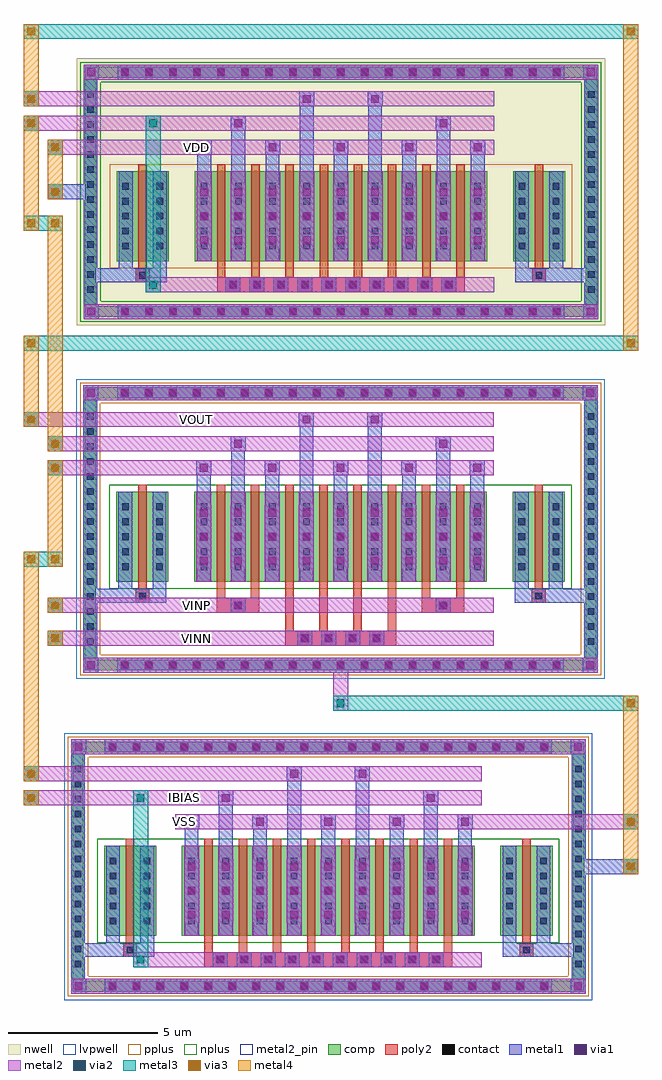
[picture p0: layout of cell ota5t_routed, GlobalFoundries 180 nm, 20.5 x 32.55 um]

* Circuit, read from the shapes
.subckt ota5t_routed IBIAS VDD VINN VINP VOUT VSS
XM1 VSS VSS VSS VSS nfet_03v3 w=3u l=0.28u m=4
XM2 IBIAS IBIAS VSS VSS nfet_03v3 w=3u l=0.28u m=4
XM3 n1 VINP n2 VSS nfet_03v3 w=3u l=0.28u m=4
XM4 n2 IBIAS VSS VSS nfet_03v3 w=3u l=0.28u m=4
XM5 VOUT VINN n2 VSS nfet_03v3 w=3u l=0.28u m=4
XM6 VDD VDD VDD VDD pfet_03v3 w=3u l=0.28u m=2
XM7 n1 n1 VDD VDD pfet_03v3 w=3u l=0.28u m=4
XM8 VOUT n1 VDD VDD pfet_03v3 w=3u l=0.28u m=4
.ends

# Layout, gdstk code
import gdstk
lib = gdstk.Library(unit=1e-6, precision=5e-09)
def R(c, l, rs):  # rectangles x0, y0, x1, y1
    for r in rs: c.add(gdstk.rectangle(r[:2], r[2:], *l))
def A(c, l, x, y, w, h, nx, ny, dx, dy):  # array of equal rectangles
    R(c, l, [(x+i*dx, y+j*dy, x+i*dx+w, y+j*dy+h) for i in range(nx) for j in range(ny)])
def P(c, l, *ps):  # polygons
    for p in ps: c.add(gdstk.Polygon(p, *l))
nwell = (21, 0)
comp = (22, 0)
poly2 = (30, 0)
pplus = (31, 0)
nplus = (32, 0)
contact = (33, 0)
metal1 = (34, 0)
via1 = (35, 0)
metal2 = (36, 0)
metal2_pin = (36, 10)
via2 = (38, 0)
via3 = (40, 0)
metal3 = (42, 0)
metal4 = (46, 0)
lvpwell = (204, 0)

ota5t_routed = lib.new_cell('ota5t_routed')
R(ota5t_routed, nwell, [(1.92,23.4,19.54,32.3), (2.08,23.56,19.38,32.14)])
A(ota5t_routed, comp, 2.93, 1.18, 0.36, 0.36, 19, 2, 0.8, 7.98)
A(ota5t_routed, comp, 1.78, 1.92, 0.36, 0.36, 1, 14, 0, 0.5)
A(ota5t_routed, comp, 18.48, 1.92, 0.36, 0.36, 1, 14, 0, 0.5)
A(ota5t_routed, comp, 3.34, 11.89, 0.36, 0.36, 19, 2, 0.8, 9.08)
A(ota5t_routed, comp, 2.19, 12.68, 0.36, 0.36, 1, 16, 0, 0.5)
A(ota5t_routed, comp, 18.89, 12.68, 0.36, 0.36, 1, 16, 0, 0.5)
A(ota5t_routed, comp, 3.35, 23.68, 0.36, 0.36, 19, 2, 0.8, 7.98)
A(ota5t_routed, comp, 2.2, 24.42, 0.36, 0.36, 1, 14, 0, 0.5)
A(ota5t_routed, comp, 18.9, 24.42, 0.36, 0.36, 1, 14, 0, 0.5)
R(ota5t_routed, comp, [(2.93,1.18,17.69,1.54), (1.78,1.92,2.14,8.78), (18.48,1.92,18.84,8.78), (2.83,3.04,4.57,6.04), (5.43,3.04,15.19,6.04), (16.05,3.04,17.79,6.04), (2.93,9.16,17.69,9.52), (3.34,11.89,18.1,12.25), (2.19,12.68,2.55,20.54), (18.89,12.68,19.25,20.54), (3.24,14.85,4.98,17.85), (5.84,14.85,15.6,17.85), (16.46,14.85,18.2,17.85), (3.34,20.97,18.1,21.33), (3.35,23.68,18.11,24.04), (2.2,24.42,2.56,31.28), (18.9,24.42,19.26,31.28), (3.25,25.54,4.99,28.54), (5.85,25.54,15.61,28.54), (16.47,25.54,18.21,28.54), (3.35,31.66,18.11,32.02)])
P(ota5t_routed, comp, [(19.25,21.33),(2.19,21.33),(2.19,12.25),(2.55,12.25),(2.55,20.97),(18.89,20.97),(18.89,12.25),(2.55,12.25),(2.19,12.25),(2.19,11.89),(19.25,11.89)],
  [(18.84,9.52),(1.78,9.52),(1.78,1.54),(2.14,1.54),(2.14,9.16),(18.48,9.16),(18.48,1.54),(2.14,1.54),(1.78,1.54),(1.78,1.18),(18.84,1.18)],
  [(19.26,32.02),(2.2,32.02),(2.2,24.04),(2.56,24.04),(2.56,31.66),(18.9,31.66),(18.9,24.04),(2.56,24.04),(2.2,24.04),(2.2,23.68),(19.26,23.68)])
A(ota5t_routed, poly2, 6.53, 2.07, 0.36, 0.36, 10, 1, 0.8, 0)
A(ota5t_routed, poly2, 6.18, 2.5, 0.28, 0.3, 8, 1, 1.14, 0)
A(ota5t_routed, poly2, 6.18, 2.8, 0.28, 3.48, 8, 1, 1.14, 0)
A(ota5t_routed, poly2, 9.34, 12.78, 0.36, 0.36, 4, 1, 0.8, 0)
A(ota5t_routed, poly2, 8.87, 13.21, 0.28, 1.4, 4, 1, 1.14, 0)
A(ota5t_routed, poly2, 6.59, 14.61, 0.28, 3.48, 8, 1, 1.14, 0)
A(ota5t_routed, poly2, 6.95, 24.57, 0.36, 0.36, 10, 1, 0.8, 0)
A(ota5t_routed, poly2, 6.6, 25, 0.28, 0.3, 8, 1, 1.14, 0)
A(ota5t_routed, poly2, 6.6, 25.3, 0.28, 3.48, 8, 1, 1.14, 0)
R(ota5t_routed, poly2, [(6.18,2,14.44,2.5), (3.47,2.34,3.93,2.8), (16.69,2.34,17.15,2.8), (3.52,2.39,3.88,2.75), (16.74,2.39,17.1,2.75), (3.56,2.8,3.84,6.28), (16.78,2.8,17.06,6.28), (8.87,12.71,12.57,13.21), (6.59,13.81,8.01,14.31), (13.43,13.81,14.85,14.31), (7.12,13.88,7.48,14.24), (13.96,13.88,14.32,14.24), (3.88,14.15,4.34,14.61), (17.1,14.15,17.56,14.61), (3.93,14.2,4.29,14.56), (17.15,14.2,17.51,14.56), (6.59,14.31,6.87,14.61), (7.73,14.31,8.01,14.61), (13.43,14.31,13.71,14.61), (14.57,14.31,14.85,14.61), (3.97,14.61,4.25,18.09), (17.19,14.61,17.47,18.09), (6.6,24.5,14.86,25), (3.89,24.84,4.35,25.3), (17.11,24.84,17.57,25.3), (3.94,24.89,4.3,25.25), (17.16,24.89,17.52,25.25), (3.98,25.3,4.26,28.78), (17.2,25.3,17.48,28.78)])
R(ota5t_routed, pplus, [(3.02,25.31,5.22,28.77), (3.02,25.31,18.44,28.77), (5.62,25.31,15.84,28.77), (16.24,25.31,18.44,28.77)])
P(ota5t_routed, pplus, [(19.41,21.49),(2.03,21.49),(2.03,12.41),(2.71,12.41),(2.71,20.81),(18.73,20.81),(18.73,12.41),(2.71,12.41),(2.03,12.41),(2.03,11.73),(19.41,11.73)],
  [(19,9.68),(1.62,9.68),(1.62,1.7),(2.3,1.7),(2.3,9),(18.32,9),(18.32,1.7),(2.3,1.7),(1.62,1.7),(1.62,1.02),(19,1.02)])
R(ota5t_routed, nplus, [(2.6,2.81,4.8,6.27), (2.6,2.81,18.02,6.27), (5.2,2.81,15.42,6.27), (15.82,2.81,18.02,6.27), (3.01,14.62,5.21,18.08), (3.01,14.62,18.43,18.08), (5.61,14.62,15.83,18.08), (16.23,14.62,18.43,18.08)])
P(ota5t_routed, nplus, [(19.42,32.18),(2.04,32.18),(2.04,24.2),(2.72,24.2),(2.72,31.5),(18.74,31.5),(18.74,24.2),(2.72,24.2),(2.04,24.2),(2.04,23.52),(19.42,23.52)])
A(ota5t_routed, contact, 3, 1.25, 0.22, 0.22, 19, 2, 0.8, 7.98)
A(ota5t_routed, contact, 1.85, 1.99, 0.22, 0.22, 1, 14, 0, 0.5)
A(ota5t_routed, contact, 18.55, 1.99, 0.22, 0.22, 1, 14, 0, 0.5)
A(ota5t_routed, contact, 6.6, 2.14, 0.22, 0.22, 10, 1, 0.8, 0)
A(ota5t_routed, contact, 3.02, 3.43, 0.22, 0.22, 1, 5, 0, 0.5)
A(ota5t_routed, contact, 4.16, 3.43, 0.22, 0.22, 1, 5, 0, 0.5)
A(ota5t_routed, contact, 5.64, 3.43, 0.22, 0.22, 9, 5, 1.14, 0.5)
A(ota5t_routed, contact, 16.24, 3.43, 0.22, 0.22, 1, 5, 0, 0.5)
A(ota5t_routed, contact, 17.38, 3.43, 0.22, 0.22, 1, 5, 0, 0.5)
A(ota5t_routed, contact, 3.41, 11.96, 0.22, 0.22, 19, 2, 0.8, 9.08)
A(ota5t_routed, contact, 2.26, 12.75, 0.22, 0.22, 1, 16, 0, 0.5)
A(ota5t_routed, contact, 18.96, 12.75, 0.22, 0.22, 1, 16, 0, 0.5)
A(ota5t_routed, contact, 9.41, 12.85, 0.22, 0.22, 4, 1, 0.8, 0)
A(ota5t_routed, contact, 3.43, 15.24, 0.22, 0.22, 1, 5, 0, 0.5)
A(ota5t_routed, contact, 4.57, 15.24, 0.22, 0.22, 1, 5, 0, 0.5)
A(ota5t_routed, contact, 6.05, 15.24, 0.22, 0.22, 9, 5, 1.14, 0.5)
A(ota5t_routed, contact, 16.65, 15.24, 0.22, 0.22, 1, 5, 0, 0.5)
A(ota5t_routed, contact, 17.79, 15.24, 0.22, 0.22, 1, 5, 0, 0.5)
A(ota5t_routed, contact, 3.42, 23.75, 0.22, 0.22, 19, 2, 0.8, 7.98)
A(ota5t_routed, contact, 2.27, 24.49, 0.22, 0.22, 1, 14, 0, 0.5)
A(ota5t_routed, contact, 18.97, 24.49, 0.22, 0.22, 1, 14, 0, 0.5)
A(ota5t_routed, contact, 7.02, 24.64, 0.22, 0.22, 10, 1, 0.8, 0)
A(ota5t_routed, contact, 3.44, 25.93, 0.22, 0.22, 1, 5, 0, 0.5)
A(ota5t_routed, contact, 4.58, 25.93, 0.22, 0.22, 1, 5, 0, 0.5)
A(ota5t_routed, contact, 6.06, 25.93, 0.22, 0.22, 9, 5, 1.14, 0.5)
A(ota5t_routed, contact, 16.66, 25.93, 0.22, 0.22, 1, 5, 0, 0.5)
A(ota5t_routed, contact, 17.8, 25.93, 0.22, 0.22, 1, 5, 0, 0.5)
R(ota5t_routed, contact, [(3.59,2.46,3.81,2.68), (16.81,2.46,17.03,2.68), (7.19,13.95,7.41,14.17), (14.03,13.95,14.25,14.17), (4,14.27,4.22,14.49), (17.22,14.27,17.44,14.49), (4.01,24.96,4.23,25.18), (17.23,24.96,17.45,25.18)])
A(ota5t_routed, metal1, 2.86, 1.11, 0.5, 0.5, 19, 2, 0.8, 7.98)
A(ota5t_routed, metal1, 1.73, 1.87, 0.46, 0.46, 1, 14, 0, 0.5)
A(ota5t_routed, metal1, 18.43, 1.87, 0.46, 0.46, 1, 14, 0, 0.5)
A(ota5t_routed, metal1, 6.46, 2, 0.5, 0.5, 10, 1, 0.8, 0)
A(ota5t_routed, metal1, 5.52, 3.04, 0.46, 3, 9, 1, 1.14, 0)
A(ota5t_routed, metal1, 2.9, 3.31, 0.46, 0.46, 1, 5, 0, 0.5)
A(ota5t_routed, metal1, 4.04, 3.31, 0.46, 0.46, 1, 5, 0, 0.5)
A(ota5t_routed, metal1, 5.52, 3.31, 0.46, 0.46, 9, 5, 1.14, 0.5)
A(ota5t_routed, metal1, 16.12, 3.31, 0.46, 0.46, 1, 5, 0, 0.5)
A(ota5t_routed, metal1, 17.26, 3.31, 0.46, 0.46, 1, 5, 0, 0.5)
A(ota5t_routed, metal1, 5.5, 3.49, 0.5, 0.5, 9, 3, 1.14, 0.8)
A(ota5t_routed, metal1, 5.5, 3.49, 0.5, 2.1, 9, 1, 1.14, 0)
A(ota5t_routed, metal1, 5.52, 6.04, 0.46, 1.05, 5, 1, 2.28, 0)
A(ota5t_routed, metal1, 5.5, 6.59, 0.5, 0.5, 5, 1, 2.28, 0)
A(ota5t_routed, metal1, 3.27, 11.82, 0.5, 0.5, 19, 2, 0.8, 9.08)
A(ota5t_routed, metal1, 2.14, 12.63, 0.46, 0.46, 1, 16, 0, 0.5)
A(ota5t_routed, metal1, 18.84, 12.63, 0.46, 0.46, 1, 16, 0, 0.5)
A(ota5t_routed, metal1, 9.27, 12.71, 0.5, 0.5, 4, 1, 0.8, 0)
A(ota5t_routed, metal1, 5.93, 14.85, 0.46, 3, 9, 1, 1.14, 0)
A(ota5t_routed, metal1, 3.31, 15.12, 0.46, 0.46, 1, 5, 0, 0.5)
A(ota5t_routed, metal1, 4.45, 15.12, 0.46, 0.46, 1, 5, 0, 0.5)
A(ota5t_routed, metal1, 5.93, 15.12, 0.46, 0.46, 9, 5, 1.14, 0.5)
A(ota5t_routed, metal1, 16.53, 15.12, 0.46, 0.46, 1, 5, 0, 0.5)
A(ota5t_routed, metal1, 17.67, 15.12, 0.46, 0.46, 1, 5, 0, 0.5)
A(ota5t_routed, metal1, 5.91, 15.3, 0.5, 0.5, 9, 3, 1.14, 0.8)
A(ota5t_routed, metal1, 5.91, 15.3, 0.5, 2.1, 9, 1, 1.14, 0)
A(ota5t_routed, metal1, 5.93, 17.85, 0.46, 1.05, 5, 1, 2.28, 0)
A(ota5t_routed, metal1, 5.91, 18.4, 0.5, 0.5, 5, 1, 2.28, 0)
A(ota5t_routed, metal1, 3.28, 23.61, 0.5, 0.5, 19, 2, 0.8, 7.98)
A(ota5t_routed, metal1, 2.15, 24.37, 0.46, 0.46, 1, 14, 0, 0.5)
A(ota5t_routed, metal1, 18.85, 24.37, 0.46, 0.46, 1, 14, 0, 0.5)
A(ota5t_routed, metal1, 6.88, 24.5, 0.5, 0.5, 10, 1, 0.8, 0)
A(ota5t_routed, metal1, 5.94, 25.54, 0.46, 3, 9, 1, 1.14, 0)
A(ota5t_routed, metal1, 3.32, 25.81, 0.46, 0.46, 1, 5, 0, 0.5)
A(ota5t_routed, metal1, 4.46, 25.81, 0.46, 0.46, 1, 5, 0, 0.5)
A(ota5t_routed, metal1, 5.94, 25.81, 0.46, 0.46, 9, 5, 1.14, 0.5)
A(ota5t_routed, metal1, 16.54, 25.81, 0.46, 0.46, 1, 5, 0, 0.5)
A(ota5t_routed, metal1, 17.68, 25.81, 0.46, 0.46, 1, 5, 0, 0.5)
A(ota5t_routed, metal1, 5.92, 25.99, 0.5, 0.5, 9, 3, 1.14, 0.8)
A(ota5t_routed, metal1, 5.92, 25.99, 0.5, 2.1, 9, 1, 1.14, 0)
A(ota5t_routed, metal1, 5.94, 28.54, 0.46, 1.05, 5, 1, 2.28, 0)
A(ota5t_routed, metal1, 5.92, 29.09, 0.5, 0.5, 5, 1, 2.28, 0)
R(ota5t_routed, metal1, [(1.73,1.11,2.23,1.61), (1.73,1.11,2.23,1.61), (1.73,1.11,2.19,1.54), (2.86,1.11,17.76,1.61), (18.39,1.11,18.89,1.61), (18.39,1.11,18.89,1.61), (18.43,1.11,18.89,1.54), (1.73,1.54,2.19,9.16), (18.43,1.54,18.89,9.16), (1.73,2.34,3.47,2.8), (2.9,2.34,3.47,2.8), (2.9,2.34,3.36,3.04), (3.47,2.34,3.93,2.8), (3.93,2.34,4.5,2.8), (4.04,2.34,4.5,3.04), (16.12,2.34,16.69,2.8), (16.12,2.34,16.58,3.04), (16.69,2.34,17.15,2.8), (17.15,2.34,17.72,2.8), (17.15,2.34,18.89,2.8), (17.26,2.34,17.72,3.04), (2.9,3.04,3.36,6.04), (4.04,3.04,4.5,6.04), (16.12,3.04,16.58,6.04), (17.26,3.04,17.72,6.04), (18.64,5.1,20.4,5.6), (20.15,5.1,20.65,5.6), (6.66,6.04,7.12,7.89), (8.94,6.04,9.4,8.7), (11.22,6.04,11.68,8.7), (13.5,6.04,13.96,7.89), (6.64,7.39,7.14,7.89), (13.48,7.39,13.98,7.89), (8.92,8.2,9.42,8.7), (11.2,8.2,11.7,8.7), (1.73,9.09,2.23,9.59), (1.73,9.09,2.23,9.59), (2.86,9.09,17.76,9.59), (18.39,9.09,18.89,9.59), (18.39,9.09,18.89,9.59), (1.73,9.16,2.19,9.59), (18.43,9.16,18.89,9.59), (2.14,11.82,2.64,12.32), (2.14,11.82,2.64,12.32), (2.14,11.82,2.6,12.25), (3.27,11.82,18.17,12.32), (18.8,11.82,19.3,12.32), (18.8,11.82,19.3,12.32), (18.84,11.82,19.3,12.25), (2.14,12.25,2.6,20.97), (18.84,12.25,19.3,20.97), (7.05,13.81,7.55,14.31), (13.89,13.81,14.39,14.31), (2.14,14.15,3.88,14.61), (3.31,14.15,3.88,14.61), (3.31,14.15,3.77,14.85), (3.88,14.15,4.34,14.61), (4.34,14.15,4.91,14.61), (4.45,14.15,4.91,14.85), (16.53,14.15,17.1,14.61), (16.53,14.15,16.99,14.85), (17.1,14.15,17.56,14.61), (17.56,14.15,18.13,14.61), (17.56,14.15,19.3,14.61), (17.67,14.15,18.13,14.85), (3.31,14.85,3.77,17.85), (4.45,14.85,4.91,17.85), (16.53,14.85,16.99,17.85), (17.67,14.85,18.13,17.85), (7.07,17.85,7.53,19.7), (9.35,17.85,9.81,20.51), (11.63,17.85,12.09,20.51), (13.91,17.85,14.37,19.7), (7.05,19.2,7.55,19.7), (13.89,19.2,14.39,19.7), (9.33,20.01,9.83,20.51), (11.61,20.01,12.11,20.51), (2.14,20.9,2.64,21.4), (2.14,20.9,2.64,21.4), (3.27,20.9,18.17,21.4), (18.8,20.9,19.3,21.4), (18.8,20.9,19.3,21.4), (2.14,20.97,2.6,21.4), (18.84,20.97,19.3,21.4), (2.15,23.61,2.65,24.11), (2.15,23.61,2.65,24.11), (2.15,23.61,2.61,24.04), (3.28,23.61,18.18,24.11), (18.81,23.61,19.31,24.11), (18.81,23.61,19.31,24.11), (18.85,23.61,19.31,24.04), (2.15,24.04,2.61,31.66), (18.85,24.04,19.31,31.66), (2.15,24.84,3.89,25.3), (3.32,24.84,3.89,25.3), (3.32,24.84,3.78,25.54), (3.89,24.84,4.35,25.3), (4.35,24.84,4.92,25.3), (4.46,24.84,4.92,25.54), (16.54,24.84,17.11,25.3), (16.54,24.84,17,25.54), (17.11,24.84,17.57,25.3), (17.57,24.84,18.14,25.3), (17.57,24.84,19.31,25.3), (17.68,24.84,18.14,25.54), (3.32,25.54,3.78,28.54), (4.46,25.54,4.92,28.54), (16.54,25.54,17,28.54), (17.68,25.54,18.14,28.54), (0.95,27.6,1.45,28.1), (1.2,27.6,2.4,28.1), (7.08,28.54,7.54,30.39), (9.36,28.54,9.82,31.2), (11.64,28.54,12.1,31.2), (13.92,28.54,14.38,30.39), (7.06,29.89,7.56,30.39), (13.9,29.89,14.4,30.39), (9.34,30.7,9.84,31.2), (11.62,30.7,12.12,31.2), (2.15,31.59,2.65,32.09), (2.15,31.59,2.65,32.09), (3.28,31.59,18.18,32.09), (18.81,31.59,19.31,32.09), (18.81,31.59,19.31,32.09), (2.15,31.66,2.61,32.09), (18.85,31.66,19.31,32.09)])
A(ota5t_routed, via1, 2.98, 1.23, 0.26, 0.26, 19, 2, 0.8, 7.98)
A(ota5t_routed, via1, 6.58, 2.12, 0.26, 0.26, 10, 1, 0.8, 0)
A(ota5t_routed, via1, 5.62, 3.61, 0.26, 0.26, 9, 3, 1.14, 0.8)
A(ota5t_routed, via1, 5.62, 6.71, 0.26, 0.26, 5, 1, 2.28, 0)
A(ota5t_routed, via1, 3.39, 11.94, 0.26, 0.26, 19, 2, 0.8, 9.08)
A(ota5t_routed, via1, 9.39, 12.83, 0.26, 0.26, 4, 1, 0.8, 0)
A(ota5t_routed, via1, 6.03, 15.42, 0.26, 0.26, 9, 3, 1.14, 0.8)
A(ota5t_routed, via1, 6.03, 18.52, 0.26, 0.26, 5, 1, 2.28, 0)
A(ota5t_routed, via1, 3.4, 23.73, 0.26, 0.26, 19, 2, 0.8, 7.98)
A(ota5t_routed, via1, 7, 24.62, 0.26, 0.26, 10, 1, 0.8, 0)
A(ota5t_routed, via1, 6.04, 26.11, 0.26, 0.26, 9, 3, 1.14, 0.8)
A(ota5t_routed, via1, 6.04, 29.21, 0.26, 0.26, 5, 1, 2.28, 0)
R(ota5t_routed, via1, [(1.85,1.23,2.11,1.49), (18.51,1.23,18.77,1.49), (20.27,5.22,20.53,5.48), (6.76,7.51,7.02,7.77), (13.6,7.51,13.86,7.77), (9.04,8.32,9.3,8.58), (11.32,8.32,11.58,8.58), (1.85,9.21,2.11,9.47), (18.51,9.21,18.77,9.47), (2.26,11.94,2.52,12.2), (18.92,11.94,19.18,12.2), (7.17,13.93,7.43,14.19), (14.01,13.93,14.27,14.19), (7.17,19.32,7.43,19.58), (14.01,19.32,14.27,19.58), (9.45,20.13,9.71,20.39), (11.73,20.13,11.99,20.39), (2.26,21.02,2.52,21.28), (18.92,21.02,19.18,21.28), (2.27,23.73,2.53,23.99), (18.93,23.73,19.19,23.99), (1.07,27.72,1.33,27.98), (7.18,30.01,7.44,30.27), (14.02,30.01,14.28,30.27), (9.46,30.82,9.72,31.08), (11.74,30.82,12,31.08), (2.27,31.71,2.53,31.97), (18.93,31.71,19.19,31.97)])
A(ota5t_routed, metal2, 2.86, 1.11, 0.5, 0.5, 19, 2, 0.8, 7.98)
A(ota5t_routed, metal2, 6.46, 2, 0.5, 0.5, 10, 1, 0.8, 0)
A(ota5t_routed, metal2, 5.5, 3.04, 0.5, 3, 9, 1, 1.14, 0)
A(ota5t_routed, metal2, 5.5, 3.49, 0.5, 0.5, 9, 3, 1.14, 0.8)
A(ota5t_routed, metal2, 5.5, 6.59, 0.5, 0.5, 5, 1, 2.28, 0)
A(ota5t_routed, metal2, 3.27, 11.82, 0.5, 0.5, 19, 2, 0.8, 9.08)
A(ota5t_routed, metal2, 9.27, 12.71, 0.5, 0.5, 4, 1, 0.8, 0)
A(ota5t_routed, metal2, 5.91, 14.85, 0.5, 3, 9, 1, 1.14, 0)
A(ota5t_routed, metal2, 5.91, 15.3, 0.5, 0.5, 9, 3, 1.14, 0.8)
A(ota5t_routed, metal2, 5.91, 18.4, 0.5, 0.5, 5, 1, 2.28, 0)
A(ota5t_routed, metal2, 3.28, 23.61, 0.5, 0.5, 19, 2, 0.8, 7.98)
A(ota5t_routed, metal2, 6.88, 24.5, 0.5, 0.5, 10, 1, 0.8, 0)
A(ota5t_routed, metal2, 5.92, 25.54, 0.5, 3, 9, 1, 1.14, 0)
A(ota5t_routed, metal2, 5.92, 25.99, 0.5, 0.5, 9, 3, 1.14, 0.8)
A(ota5t_routed, metal2, 5.92, 29.09, 0.5, 0.5, 5, 1, 2.28, 0)
R(ota5t_routed, metal2, [(1.73,1.11,2.23,1.61), (1.73,1.11,2.23,1.61), (1.73,1.11,2.14,1.61), (2.14,1.11,18.48,1.61), (18.39,1.11,18.89,1.61), (18.39,1.11,18.89,1.61), (18.48,1.11,18.89,1.61), (3.8,2,4.3,2.5), (3.8,2,5.2,2.5), (5.2,2,15.42,2.5), (6.18,2,14.44,2.5), (20.15,5.1,20.65,5.6), (5.2,6.59,15.42,7.09), (15.17,6.59,20.4,7.09), (20.15,6.59,20.65,7.09), (0.15,7.39,0.65,7.89), (0.4,7.39,5.45,7.89), (3.8,7.39,4.3,7.89), (3.8,7.39,5.2,7.89), (5.2,7.39,15.42,7.89), (6.64,7.39,7.14,7.89), (13.48,7.39,13.98,7.89), (0.15,8.2,0.65,8.7), (0.4,8.2,5.45,8.7), (5.2,8.2,15.42,8.7), (8.92,8.2,9.42,8.7), (11.2,8.2,11.7,8.7), (1.73,9.09,2.23,9.59), (1.73,9.09,2.23,9.59), (1.73,9.09,2.14,9.59), (2.14,9.09,18.48,9.59), (18.39,9.09,18.89,9.59), (18.39,9.09,18.89,9.59), (18.48,9.09,18.89,9.59), (10.47,10.55,10.97,11.05), (10.47,10.8,10.97,12.07), (2.14,11.82,2.64,12.32), (2.14,11.82,2.64,12.32), (2.14,11.82,2.55,12.32), (2.55,11.82,18.89,12.32), (18.8,11.82,19.3,12.32), (18.8,11.82,19.3,12.32), (18.89,11.82,19.3,12.32), (0.95,12.71,1.45,13.21), (1.2,12.71,5.86,13.21), (5.61,12.71,15.83,13.21), (8.87,12.71,12.57,13.21), (0.95,13.81,1.45,14.31), (1.2,13.81,5.86,14.31), (5.61,13.81,15.83,14.31), (6.59,13.81,8.01,14.31), (7.05,13.81,7.55,14.31), (13.43,13.81,14.85,14.31), (13.89,13.81,14.39,14.31), (0.95,18.4,1.45,18.9), (1.2,18.4,5.86,18.9), (5.61,18.4,15.83,18.9), (0.95,19.2,1.45,19.7), (1.2,19.2,5.86,19.7), (5.61,19.2,15.83,19.7), (7.05,19.2,7.55,19.7), (13.89,19.2,14.39,19.7), (0.15,20.01,0.65,20.51), (0.4,20.01,5.86,20.51), (5.61,20.01,15.83,20.51), (9.33,20.01,9.83,20.51), (11.61,20.01,12.11,20.51), (2.14,20.9,2.64,21.4), (2.14,20.9,2.64,21.4), (2.14,20.9,2.55,21.4), (2.55,20.9,18.89,21.4), (18.8,20.9,19.3,21.4), (18.8,20.9,19.3,21.4), (18.89,20.9,19.3,21.4), (2.15,23.61,2.65,24.11), (2.15,23.61,2.65,24.11), (2.15,23.61,2.56,24.11), (2.56,23.61,18.9,24.11), (18.81,23.61,19.31,24.11), (18.81,23.61,19.31,24.11), (18.9,23.61,19.31,24.11), (4.22,24.5,4.72,25), (4.22,24.5,5.62,25), (5.62,24.5,15.84,25), (6.6,24.5,14.86,25), (0.95,27.6,1.45,28.1), (0.95,29.09,1.45,29.59), (1.2,29.09,5.87,29.59), (5.62,29.09,15.84,29.59), (0.15,29.89,0.65,30.39), (0.4,29.89,5.87,30.39), (4.22,29.89,4.72,30.39), (4.22,29.89,5.62,30.39), (5.62,29.89,15.84,30.39), (7.06,29.89,7.56,30.39), (13.9,29.89,14.4,30.39), (0.15,30.7,0.65,31.2), (0.4,30.7,5.87,31.2), (5.62,30.7,15.84,31.2), (9.34,30.7,9.84,31.2), (11.62,30.7,12.12,31.2), (2.15,31.59,2.65,32.09), (2.15,31.59,2.65,32.09), (2.15,31.59,2.56,32.09), (2.56,31.59,18.9,32.09), (18.81,31.59,19.31,32.09), (18.81,31.59,19.31,32.09), (18.9,31.59,19.31,32.09)])
R(ota5t_routed, metal2_pin, [(5.365,6.705,5.635,6.975), (5.365,7.505,5.635,7.775), (5.775,12.825,6.045,13.095), (5.775,13.925,6.045,14.195), (5.775,20.125,6.045,20.395), (5.785,29.205,6.055,29.475)])
R(ota5t_routed, via2, [(3.92,2.12,4.18,2.38), (20.27,5.22,20.53,5.48), (20.27,6.71,20.53,6.97), (0.27,7.51,0.53,7.77), (3.92,7.51,4.18,7.77), (0.27,8.32,0.53,8.58), (10.59,10.67,10.85,10.93), (1.07,12.83,1.33,13.09), (1.07,13.93,1.33,14.19), (1.07,18.52,1.33,18.78), (1.07,19.32,1.33,19.58), (0.27,20.13,0.53,20.39), (4.34,24.62,4.6,24.88), (1.07,27.72,1.33,27.98), (1.07,29.21,1.33,29.47), (0.27,30.01,0.53,30.27), (4.34,30.01,4.6,30.27), (0.27,30.82,0.53,31.08)])
R(ota5t_routed, via3, [(20.27,5.22,20.53,5.48), (20.27,6.71,20.53,6.97), (0.27,7.51,0.53,7.77), (0.27,8.32,0.53,8.58), (20.27,10.67,20.53,10.93), (1.07,12.83,1.33,13.09), (1.07,13.93,1.33,14.19), (0.27,15.47,0.53,15.73), (1.07,15.47,1.33,15.73), (1.07,18.52,1.33,18.78), (1.07,19.32,1.33,19.58), (0.27,20.13,0.53,20.39), (0.27,22.67,0.53,22.93), (20.27,22.67,20.53,22.93), (0.27,26.67,0.53,26.93), (1.07,26.67,1.33,26.93), (1.07,27.72,1.33,27.98), (1.07,29.21,1.33,29.47), (0.27,30.01,0.53,30.27), (0.27,30.82,0.53,31.08), (0.27,33.07,0.53,33.33), (20.27,33.07,20.53,33.33)])
A(ota5t_routed, metal3, 10.55, 10.55, 1.3, 0.5, 12, 1, 0.8, 0)
A(ota5t_routed, metal3, 0.15, 22.55, 1.3, 0.5, 25, 2, 0.8, 10.4)
R(ota5t_routed, metal3, [(3.8,2,4.3,2.5), (3.8,2,4.3,2.5), (3.8,2,4.3,7.89), (20.15,5.1,20.65,5.6), (20.15,6.59,20.65,7.09), (0.15,7.39,0.65,7.89), (3.8,7.39,4.3,7.89), (3.8,7.39,4.3,7.89), (0.15,8.2,0.65,8.7), (10.47,10.55,11.05,11.05), (10.47,10.55,10.97,11.05), (20.15,10.55,20.65,11.05), (0.95,12.71,1.45,13.21), (0.95,13.81,1.45,14.31), (0.15,15.35,1.45,15.85), (0.15,15.35,0.65,15.85), (0.95,15.35,1.45,15.85), (0.95,18.4,1.45,18.9), (0.95,19.2,1.45,19.7), (0.15,20.01,0.65,20.51), (0.15,22.55,0.65,23.05), (20.15,22.55,20.65,23.05), (4.22,24.5,4.72,25), (4.22,24.5,4.72,25), (4.22,24.5,4.72,30.39), (0.15,26.55,1.45,27.05), (0.15,26.55,0.65,27.05), (0.95,26.55,1.45,27.05), (0.95,27.6,1.45,28.1), (0.95,29.09,1.45,29.59), (0.15,29.89,0.65,30.39), (4.22,29.89,4.72,30.39), (4.22,29.89,4.72,30.39), (0.15,30.7,0.65,31.2), (0.15,32.95,0.65,33.45), (20.15,32.95,20.65,33.45)])
P(ota5t_routed, metal3, [(4.3,2),(4.3,2),(4.3,2.5),(4.3,2.5)],
  [(4.3,7.39),(4.3,7.39),(4.3,7.89),(4.3,7.89)],
  [(4.72,24.5),(4.72,24.5),(4.72,25),(4.72,25)],
  [(4.72,29.89),(4.72,29.89),(4.72,30.39),(4.72,30.39)])
A(ota5t_routed, metal4, 20.15, 7.35, 0.5, 1.3, 1, 4, 0, 0.8)
A(ota5t_routed, metal4, 0.15, 8.95, 0.5, 1.3, 1, 8, 0, 0.8)
A(ota5t_routed, metal4, 0.95, 15.35, 0.5, 1.3, 1, 3, 0, 0.8)
A(ota5t_routed, metal4, 0.95, 19.35, 0.5, 1.3, 1, 9, 0, 0.8)
A(ota5t_routed, metal4, 0.15, 20.15, 0.5, 1.3, 1, 3, 0, 0.8)
A(ota5t_routed, metal4, 20.15, 22.55, 0.5, 1.3, 1, 13, 0, 0.8)
A(ota5t_routed, metal4, 0.15, 26.55, 0.5, 1.3, 1, 4, 0, 0.8)
R(ota5t_routed, metal4, [(20.15,5.1,20.65,6.25), (20.15,5.1,20.65,5.6), (20.15,5.75,20.65,7.05), (20.15,6.55,20.65,7.09), (20.15,6.59,20.65,7.85), (20.15,6.59,20.65,7.09), (0.15,7.39,0.65,7.89), (0.15,8.2,0.65,9.45), (0.15,8.2,0.65,8.7), (20.15,10.55,20.65,11.05), (0.95,12.71,1.45,13.21), (0.95,13.81,1.45,14.31), (0.15,15.35,0.65,15.85), (0.95,15.35,1.45,15.85), (0.95,17.75,1.45,18.9), (0.95,18.4,1.45,18.9), (0.95,19.2,1.45,19.85), (0.95,19.2,1.45,19.7), (0.15,20.01,0.65,20.65), (0.15,20.01,0.65,20.51), (0.15,22.55,0.65,23.05), (20.15,22.55,20.65,23.05), (0.15,26.55,0.65,27.05), (0.95,26.55,1.45,27.05), (0.95,27.6,1.45,28.65), (0.95,27.6,1.45,28.1), (0.95,28.15,1.45,29.45), (0.95,28.95,1.45,29.59), (0.95,29.09,1.45,29.59), (0.15,29.75,0.65,30.39), (0.15,29.89,0.65,30.39), (0.15,30.7,0.65,31.85), (0.15,30.7,0.65,31.2), (0.15,31.35,0.65,32.65), (0.15,32.15,0.65,33.45), (0.15,32.95,0.65,33.45), (20.15,32.95,20.65,33.45)])
R(ota5t_routed, lvpwell, [(1.5,0.9,19.12,9.8), (1.91,11.61,19.53,21.61)])
ota5t_routed.add(gdstk.Label('VSS', (5.5,6.84), layer=36, texttype=10))
ota5t_routed.add(gdstk.Label('VDD', (5.92,29.34), layer=36, texttype=10))
ota5t_routed.add(gdstk.Label('IBIAS', (5.5,7.64), layer=36, texttype=10))
ota5t_routed.add(gdstk.Label('VOUT', (5.91,20.26), layer=36, texttype=10))
ota5t_routed.add(gdstk.Label('VINN', (5.91,12.96), layer=36, texttype=10))
ota5t_routed.add(gdstk.Label('VINP', (5.91,14.06), layer=36, texttype=10))

lib.write_gds('ota5t_routed.gds')
